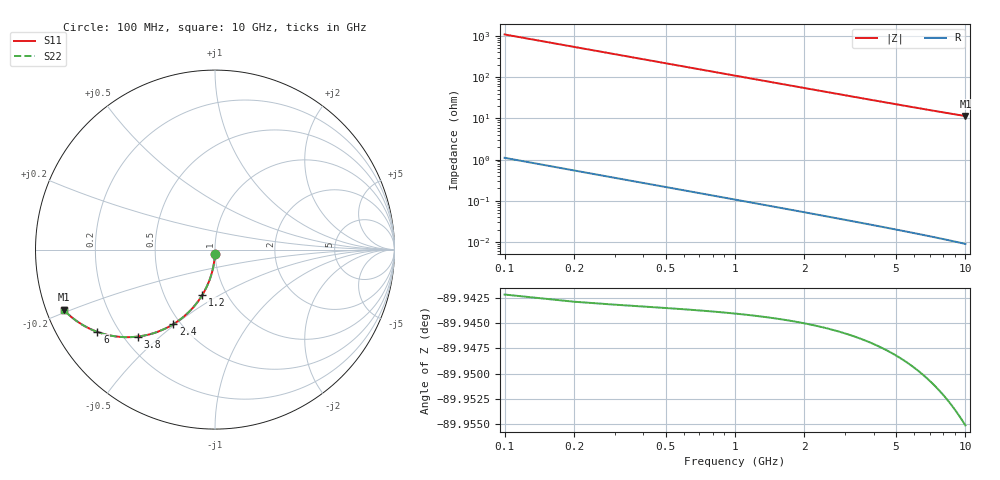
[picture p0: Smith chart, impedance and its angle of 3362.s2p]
# Hz S RI R 50.00
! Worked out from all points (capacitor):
!   100 points, 100 MHz to 10 GHz, reference 50 ohm
!   read as one part in shunt: C = 1.45 pF near 100 MHz
!   lowest |Z| = 11.4 ohm at 10 GHz (marker M1)
!   S11 on the Smith chart (normalised r, x): 100 MHz: 1.00, -0.05; 1.2 GHz: 0.77, -0.42; 2.4 GHz: 0.46, -0.49; 3.8 GHz: 0.25, -0.42; 6 GHz: 0.12, -0.31; 10 GHz: 0.05, -0.19
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1e8  -0.000454 -0.0226  0.9994 -0.0231  0.9994 -0.0231  -0.000454 -0.0226
2e8  -0.00204 -0.045  0.9978 -0.0461  0.9978 -0.0461  -0.00204 -0.045
3e8  -0.00465 -0.0674  0.9952 -0.069  0.9952 -0.069  -0.00465 -0.0674
4e8  -0.00827 -0.0895  0.9915 -0.0916  0.9915 -0.0916  -0.00827 -0.0895
5e8  -0.0129 -0.1113  0.9869 -0.114  0.9869 -0.114  -0.0129 -0.1113
6e8  -0.0185 -0.1328  0.9814 -0.136  0.9814 -0.136  -0.0185 -0.1328
7e8  -0.025 -0.1539  0.9748 -0.1576  0.9748 -0.1576  -0.025 -0.1539
9e8  -0.0406 -0.1947  0.9592 -0.1995  0.9592 -0.1995  -0.0406 -0.1947
1.2e9  -0.07 -0.2516  0.9298 -0.2579  0.9298 -0.2579  -0.07 -0.2516
1.5e9  -0.1052 -0.3025  0.8946 -0.3104  0.8946 -0.3104  -0.1052 -0.3025
1.8e9  -0.1448 -0.3467  0.855 -0.3562  0.855 -0.3562  -0.1448 -0.3467
2.1e9  -0.1873 -0.3842  0.8125 -0.3953  0.8125 -0.3953  -0.1873 -0.3842
2.4e9  -0.2314 -0.4149  0.7684 -0.4276  0.7684 -0.4276  -0.2314 -0.4149
2.9e9  -0.3054 -0.4525  0.6943 -0.4678  0.6943 -0.4678  -0.3054 -0.4525
3.4e9  -0.3769 -0.4751  0.6227 -0.4932  0.6227 -0.4932  -0.3769 -0.4751
3.8e9  -0.4306 -0.4846  0.569 -0.5048  0.569 -0.5048  -0.4306 -0.4846
4.4e9  -0.5038 -0.4877  0.4957 -0.5112  0.4957 -0.5112  -0.5038 -0.4877
5.1e9  -0.5775 -0.4798  0.4219 -0.507  0.4219 -0.507  -0.5775 -0.4798
6e9  -0.6549 -0.4586  0.3444 -0.4909  0.3444 -0.4909  -0.6549 -0.4586
6.7e9  -0.7035 -0.4379  0.2956 -0.474  0.2956 -0.474  -0.7035 -0.4379
8.4e9  -0.7899 -0.3836  0.2089 -0.4293  0.2089 -0.4293  -0.7899 -0.3836
1e10  -0.8431 -0.3349  0.1552 -0.3898  0.1552 -0.3898  -0.8431 -0.3349
